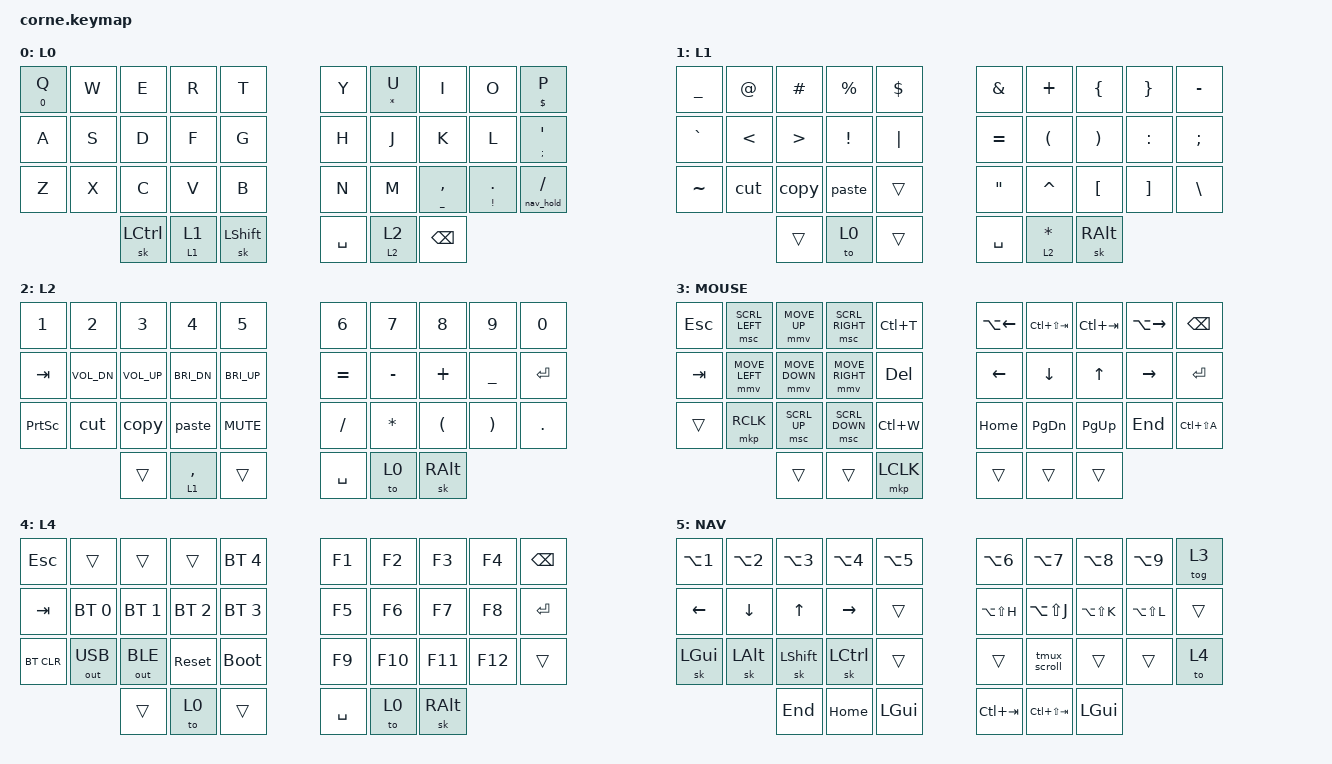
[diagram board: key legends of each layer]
/*
 * Copyright (c) 2020 The ZMK Contributors
 *
 * SPDX-License-Identifier: MIT
 */

#include <behaviors.dtsi>
#include <dt-bindings/zmk/keys.h>
#include <dt-bindings/zmk/bt.h>
#include <dt-bindings/zmk/outputs.h>
#include <dt-bindings/zmk/pointing.h>

#define L0 0   // base
#define L1 1   // symbols
#define L2 2   // numbers / media
#define L3 3   // mouse (NAV P)
#define L4 4   // adjust (NAV /)
#define L5 5   // NAV

// Base 31/34 = L1/L2 (tap sticky, hold mo). 31+34 = base.
// L1 34: tap *, hold mo L2. L2 31: tap comma, hold mo L1.
// NAV = L1+L2, or hold /. P = mouse. / = L4.

// Unused.
&mt {
    flavor = "tap-preferred";
    tapping-term-ms = <200>;
};

// Inert unless CONFIG_ZMK_POINTING=y.
&mmv {
    time-to-max-speed-ms = <680>;
    acceleration-exponent = <2>;
};

/ {
    chosen {
        zmk,physical-layout = &foostan_corne_5col_layout;
    };
    behaviors {
        // Unused.
        hm: homerow_mods {
            compatible = "zmk,behavior-hold-tap";
            label = "HOMEROW_MODS";
            #binding-cells = <2>;
            tapping-term-ms = <200>;
            quick-tap-ms = <0>;
            flavor = "tap-preferred";
            bindings = <&kp>, <&kp>;
        };

        // tap sl, hold mo. hold-preferred.
        slm: sticky_layer_momentary {
            compatible = "zmk,behavior-hold-tap";
            label = "STICKY_LAYER_MOMENTARY";
            #binding-cells = <2>;
            tapping-term-ms = <250>;
            quick-tap-ms = <0>;
            flavor = "hold-preferred";
            bindings = <&mo>, <&sl>;
        };

        // Unused.
        slt: sticky_layer_toggle {
            compatible = "zmk,behavior-hold-tap";
            label = "STICKY_LAYER_TOGGLE";
            #binding-cells = <2>;
            tapping-term-ms = <250>;
            quick-tap-ms = <0>;
            flavor = "tap-preferred";
            bindings = <&tog>, <&sl>;
        };

        // Unused.
        stp: step_or_stack {
            compatible = "zmk,behavior-hold-tap";
            label = "STEP_OR_STACK";
            #binding-cells = <2>;
            tapping-term-ms = <180>;
            quick-tap-ms = <175>;
            flavor = "tap-preferred";
            bindings = <&mo>, <&to>;
        };

        // &td <hold> <tap>. quick-tap 200.
        td: tapdance {
            compatible = "zmk,behavior-hold-tap";
            label = "TAPDANCE";
            #binding-cells = <2>;
            tapping-term-ms = <200>;
            quick-tap-ms = <200>;
            flavor = "tap-preferred";
            bindings = <&kp>, <&kp>;
        };

        // tap ', hold ;. idle 100ms.
        qt: quote_semi {
            compatible = "zmk,behavior-hold-tap";
            label = "QUOTE_SEMI";
            #binding-cells = <2>;
            tapping-term-ms = <180>;
            quick-tap-ms = <180>;
            require-prior-idle-ms = <100>;
            flavor = "tap-preferred";
            bindings = <&kp>, <&kp>;
        };

        // tap /, hold NAV. &ns 0 FSLH (dummy param).
        ns: nav_slash {
            compatible = "zmk,behavior-hold-tap";
            label = "NAV_SLASH";
            #binding-cells = <2>;
            tapping-term-ms = <200>;
            quick-tap-ms = <200>;
            flavor = "tap-preferred";
            bindings = <&nav_hold>, <&kp>;
        };

        // tap key, hold mo. hold-preferred.
        lk: layer_key {
            compatible = "zmk,behavior-hold-tap";
            label = "LAYER_KEY";
            #binding-cells = <2>;
            tapping-term-ms = <250>;
            quick-tap-ms = <0>;
            flavor = "hold-preferred";
            bindings = <&mo>, <&kp>;
        };
    };

    macros {
        // prefix+[
        tmux_scroll: tmux_scroll {
            compatible = "zmk,behavior-macro";
            label = "TMUX_SCROLL";
            #binding-cells = <0>;
            wait-ms = <40>;
            tap-ms = <40>;
            bindings = <&kp LC(SPACE) &kp LBKT>;
        };

        // C-X
        cut: cut {
            compatible = "zmk,behavior-macro";
            label = "CUT";
            #binding-cells = <0>;
            wait-ms = <40>;
            tap-ms = <40>;
            bindings = <&kp LC(X)>;
        };

        // C-C
        copy: copy {
            compatible = "zmk,behavior-macro";
            label = "COPY";
            #binding-cells = <0>;
            wait-ms = <40>;
            tap-ms = <40>;
            bindings = <&kp LC(C)>;
        };

        // C-V
        paste: paste {
            compatible = "zmk,behavior-macro";
            label = "PASTE";
            #binding-cells = <0>;
            wait-ms = <40>;
            tap-ms = <40>;
            bindings = <&kp LC(V)>;
        };

        // Hold L1+L2 (feeds the NAV conditional). Dummy param for &ns.
        nav_hold: nav_hold {
            compatible = "zmk,behavior-macro-one-param";
            label = "NAV_HOLD";
            #binding-cells = <1>;
            wait-ms = <0>;
            tap-ms = <0>;
            bindings
                = <&macro_press &mo L1 &mo L2>
                , <&macro_pause_for_release>
                , <&macro_release &mo L1 &mo L2>;
        };
    };

    combos {
        compatible = "zmk,combos";

        // D+F Esc. idle 100ms.
        combo_esc {
            timeout-ms = <50>;
            require-prior-idle-ms = <100>;
            key-positions = <12 13>;
            bindings = <&kp ESC>;
        };

        // L+' Enter.
        combo_ret {
            timeout-ms = <50>;
            key-positions = <18 19>;
            bindings = <&kp RET>;
        };

        // A+S Tab. idle 100ms.
        combo_tab {
            timeout-ms = <50>;
            require-prior-idle-ms = <100>;
            key-positions = <10 11>;
            bindings = <&kp TAB>;
        };

        // K+L colon. right hand, next to Enter.
        combo_col {
            timeout-ms = <50>;
            key-positions = <17 18>;
            bindings = <&kp COLON>;
        };

        // Both layer thumbs -> base. L1-L4.
        combo_to_base {
            timeout-ms = <50>;
            key-positions = <31 34>;
            layers = <L1 L2 L3 L4>;
            bindings = <&to L0>;
        };
    };

    // L1+L2 -> NAV. Do not &mo L5.
    conditional_layers {
        compatible = "zmk,conditional-layers";

        nav {
            if-layers = <L1 L2>;
            then-layer = <L5>;
        };
    };

    keymap {
        compatible = "zmk,keymap";
        layer_0 {
            // x/y = tap/hold. s = sticky.
            // Esc D+F, Enter L+', Tab A+S, colon K+L.
            // | Q/0 |  W  |  E  |  R  |  T  |     |  Y  | U/* |  I  |  O  | P/$ |
            // |  A  |  S  |  D  |  F  |  G  |     |  H  |  J  |  K  |  L  | '/; |
            // |  Z  |  X  |  C  |  V  |  B  |     |  N  |  M  | ,/_ | ./! | /NAV|
            //             |sCTL | L1  |sSFT |     | SPC | L2  |BSPC |
            display-name = "L0";
            bindings = <
                &td N0 Q   &kp W      &kp E       &kp R        &kp T        &kp Y      &td STAR U  &kp I       &kp O        &td DLLR P
                &kp A      &kp S      &kp D       &kp F        &kp G        &kp H      &kp J       &kp K       &kp L        &qt SEMI SQT
                &kp Z      &kp X      &kp C       &kp V        &kp B        &kp N      &kp M       &td UNDER COMMA  &td EXCL DOT  &ns 0 FSLH
                                      &sk LCTRL   &slm L1 L1  &sk LSHIFT    &kp SPACE  &slm L2 L2  &kp BSPC
            >;
        };

        layer_1 {
            // | _ | @ | # | % | $ |     | & | + | { | } | -  |
            // | ` | < | > | ! | | |     | = | ( | ) | : | ;  |
            // | ~ |CUT |COPY|PSTE|   |     | " | ^ | [ | ] | \ |
            //             | -  | L0 | -  |     | SPC | * |sALT|   * hold = mo L2
            display-name = "L1";
            bindings = <
                &kp UNDER  &kp AT     &kp HASH   &kp PRCNT  &kp DLLR        &kp AMPS   &kp PLUS   &kp LBRC   &kp RBRC   &kp MINUS
                &kp GRAVE  &kp LT     &kp GT     &kp EXCL   &kp PIPE        &kp EQUAL  &kp LPAR   &kp RPAR   &kp COLON   &kp SEMI
                &kp TILDE  &cut       &copy      &paste     &trans          &kp DQT    &kp CARET  &kp LBKT   &kp RBKT    &kp BSLH
                                      &trans     &to L0     &trans        &kp SPACE  &lk L2 STAR  &sk RALT

            >;
        };

        layer_2 {
            // | 1  | 2  | 3  | 4  | 5  |     | 6 | 7 | 8 | 9 | 0 |
            // |TAB |VOL-|VOL+|BRI-|BRI+|     | = | - | + | _ |RET|
            // |PSCR|CUT |COPY|PSTE|MUTE|     | / | * | ( | ) | . |
            //             | -  | ,  | -  |     | SPC | L0 |sALT|   , hold = mo L1
            display-name = "L2";
            bindings = <
                &kp N1     &kp N2        &kp N3        &kp N4        &kp N5        &kp N6     &kp N7     &kp N8     &kp N9     &kp N0
                &kp TAB    &kp C_VOL_DN  &kp C_VOL_UP  &kp C_BRI_DN  &kp C_BRI_UP  &kp EQUAL  &kp MINUS  &kp PLUS   &kp UNDER  &kp RET
                &kp PSCRN  &cut          &copy         &paste        &kp C_MUTE    &kp FSLH   &kp STAR   &kp LPAR   &kp RPAR   &kp DOT
                                         &trans        &lk L1 COMMA  &trans        &kp SPACE  &to L0     &sk RALT
            >;
        };

        layer_3 {
            // Toggle from NAV P. BACK/FWD = A-Left/Right. TABS = C-S-A.
            // |ESC |SCR<|MV^ |SCR>|C-T |     |BACK|C-S-TAB|C-TAB|FWD |BSPC|
            // |TAB |MV< |MVv |MV> |DEL |     | <- |   v   |  ^  | -> |RET |
            // |    |RCLK|SCR^|SCRv|C-W |     |HOME| PGDN  |PGUP |END |TABS|
            //             | -  | -  |LCLK|     | -  | -  | -  |
            display-name = "MOUSE";
            bindings = <
                &kp ESC  &msc SCRL_LEFT  &mmv MOVE_UP    &msc SCRL_RIGHT  &kp LC(T)  &kp LA(LEFT)  &kp LC(LS(TAB))  &kp LC(TAB)  &kp LA(RIGHT)  &kp BSPC
                &kp TAB  &mmv MOVE_LEFT  &mmv MOVE_DOWN  &mmv MOVE_RIGHT  &kp DEL    &kp LEFT      &kp DOWN         &kp UP       &kp RIGHT      &kp RET
                &trans   &mkp RCLK       &msc SCRL_UP    &msc SCRL_DOWN   &kp LC(W)  &kp HOME      &kp PG_DN        &kp PG_UP    &kp END        &kp LC(LS(A))
                                         &trans          &trans          &mkp LCLK   &trans        &trans           &trans
            >;
        };

        layer_4 {
            // NAV / only. trans falls through.
            // |TAB |    |    |    |BT4 |     |F1 |F2 |F3 |F4 |BSPC|
            // |ESC |BT0 |BT1 |BT2 |BT3 |     |F5 |F6 |F7 |F8 |RET |
            // |CLR |USB |BLE |RST |BOOT|     |F9 |F10|F11|F12|    |
            //             | -  | L0 | -  |     | SPC | L0 |sALT|
            display-name = "L4";
            bindings = <
                &kp ESC       &trans        &trans        &trans        &bt BT_SEL 4  &kp F1     &kp F2         &kp F3         &kp F4     &kp BSPC
                &kp TAB       &bt BT_SEL 0  &bt BT_SEL 1  &bt BT_SEL 2  &bt BT_SEL 3  &kp F5     &kp F6         &kp F7         &kp F8     &kp RET
                &bt BT_CLR    &out OUT_USB  &out OUT_BLE  &sys_reset    &bootloader   &kp F9     &kp F10        &kp F11        &kp F12    &trans
                                            &trans        &to L0        &trans        &kp SPACE  &to L0         &sk RALT
            >;
        };

        layer_5 {
            // L1+L2 or hold /. ASDF arrows, HJKL tmux panes, P mouse, / L4.
            // |A-1 |A-2 |A-3 |A-4 |A-5 |     |A-6 |A-7 |A-8 |A-9 |MOUSE|
            // | <- |  v |  ^ | -> |    |     |pane←|pane↓|pane↑|pane→|    |
            // |sGUI|sALT|sSFT|sCTL|    |     |    |SCRL|    |    | L4 |
            //             |END |HOME|GUI |     |TAB>|TAB<|GUI |
            display-name = "NAV";
            bindings = <
                &kp LA(N1)  &kp LA(N2)  &kp LA(N3)  &kp LA(N4)  &kp LA(N5)  &kp LA(N6)  &kp LA(N7)  &kp LA(N8)  &kp LA(N9)  &tog L3
                &kp LEFT    &kp DOWN    &kp UP      &kp RIGHT   &trans      &kp LA(LS(H)) &kp LA(LS(J)) &kp LA(LS(K)) &kp LA(LS(L)) &trans
                &sk LGUI    &sk LALT    &sk LSHIFT  &sk LCTRL  &trans      &trans      &tmux_scroll &trans      &trans      &to L4
                                        &kp END     &kp HOME    &kp LGUI    &kp LC(TAB)  &kp LC(LS(TAB)) &kp LGUI

            >;
        };

        layer_6 {
            status = "reserved";
        };

        extra_2 {
            status = "reserved";
        };
    };
};
